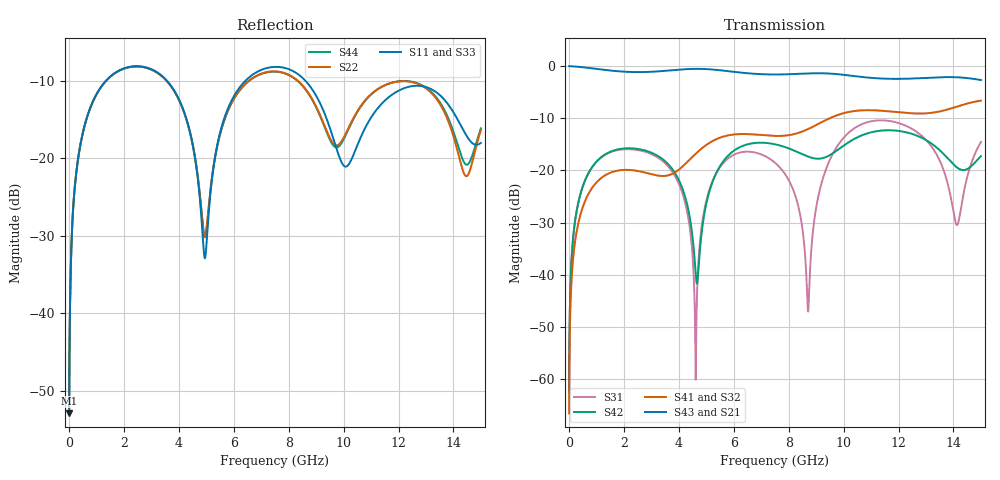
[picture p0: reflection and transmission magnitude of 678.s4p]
! Created with skrf 1.8.0 (http://scikit-rf.org).
# GHz S RI R 50.0
!freq ReS11 ImS11 ReS12 ImS12 ReS13 ImS13
! ReS14 ImS14
! ReS21 ImS21 ReS22 ImS22 ReS23 ImS23
! ReS24 ImS24
! ReS31 ImS31 ReS32 ImS32 ReS33 ImS33
! ReS34 ImS34
! ReS41 ImS41 ReS42 ImS42 ReS43 ImS43
! ReS44 ImS44
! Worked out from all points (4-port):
!   2499 points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, 5 MHz to 15 GHz, reference 50 ohm
!   strongest paths, dB at 5 MHz, 3.476 GHz, 7.19 GHz, 11.1 GHz, 15 GHz:
!     S43: 0.0, -0.9, -1.6, -2.3, -2.7
!     S21: 0.0, -0.9, -1.6, -2.3, -2.7
!     S41: -66.6, -21.1, -13.3, -8.5, -6.6
!     S32: -66.6, -21.1, -13.3, -8.5, -6.6
!     S42: -62.6, -18.1, -14.7, -12.6, -17.3
!     S31: -62.6, -18.5, -17.4, -10.5, -14.6
!   lowest |S11| = -52.9 dB at 5 MHz (marker M1), VSWR 1.00, Z = 50.2 + j0.138 ohm
!   |S11| at or under -10 dB: start of sweep to 1.353 GHz; 3.561 GHz to 6.432 GHz (2.871 GHz wide, 57.5 % of centre); 8.605 GHz to end of sweep
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0.005  0.00181 0.00137  0.9982 -0.00352  9.22e-05 0.000739  -8.94e-05 -0.00046
       0.9982 -0.00352  0.00181 0.00137  -8.94e-05 -0.00046  9.23e-05 0.000739
       9.22e-05 0.000739  -8.94e-05 -0.00046  0.00181 0.00137  0.9982 -0.00352
       -8.94e-05 -0.00046  9.23e-05 0.000739  0.9982 -0.00352  0.00181 0.00137
1.469362  0.2844 0.1705  0.5185 -0.746  0.1337 0.0629  -0.0941 -0.000835
          0.5185 -0.746  0.2825 0.1718  -0.094 -0.000898  0.1389 0.0553
          0.1337 0.0629  -0.094 -0.000898  0.2845 0.1705  0.5184 -0.746
          -0.0941 -0.000835  0.1389 0.0553  0.5184 -0.746  0.2826 0.1719
4.614423  0.0401 -0.0851  -0.8991 -0.2768  -0.000968 -0.00019  -0.0376 0.1394
          -0.8991 -0.2768  0.048 -0.0811  -0.0385 0.1391  -0.00847 -0.00572
          -0.000968 -0.00019  -0.0385 0.1391  0.0404 -0.0865  -0.8989 -0.277
          -0.0376 0.1394  -0.00847 -0.00572  -0.8989 -0.277  0.0485 -0.0824
5.589829  0.0944 0.1368  -0.8504 0.314  0.0683 0.0927  0.095 0.1871
          -0.8504 0.314  0.0979 0.1306  0.0938 0.1876  0.088 0.0807
          0.0683 0.0927  0.0938 0.1876  0.0939 0.1355  -0.8506 0.314
          0.095 0.1871  0.088 0.0807  -0.8506 0.314  0.0972 0.129
8.709879  0.2454 -0.1744  0.5 0.6873  0.00333 0.00293  0.1971 -0.1528
          0.5 0.6873  0.2331 -0.1246  0.1986 -0.151  -0.0725 -0.1145
          0.00333 0.00293  0.1986 -0.151  0.2453 -0.173  0.5017 0.6864
          0.1971 -0.1528  -0.0725 -0.1145  0.5017 0.6864  0.2311 -0.1254
9.941642  0.084 -0.0398  0.8205 0.1142  0.0496 0.1904  0.0425 -0.3475
          0.8205 0.1142  0.1279 0.0223  0.0452 -0.3466  -0.0794 0.1484
          0.0496 0.1904  0.0452 -0.3466  0.0876 -0.0366  0.8209 0.111
          0.0425 -0.3475  -0.0794 0.1484  0.8209 0.111  0.1243 0.0235
15  0.1253 -0.00536  -0.7222 -0.1383  0.1072 0.1531  -0.0565 0.4625
    -0.7222 -0.1383  0.1166 0.0979  -0.0663 0.4614  -0.0612 0.1224
    0.1072 0.1531  -0.0663 0.4614  0.12 -0.0151  -0.7231 -0.1329
    -0.0565 0.4625  -0.0612 0.1224  -0.7231 -0.1329  0.1283 0.0882
